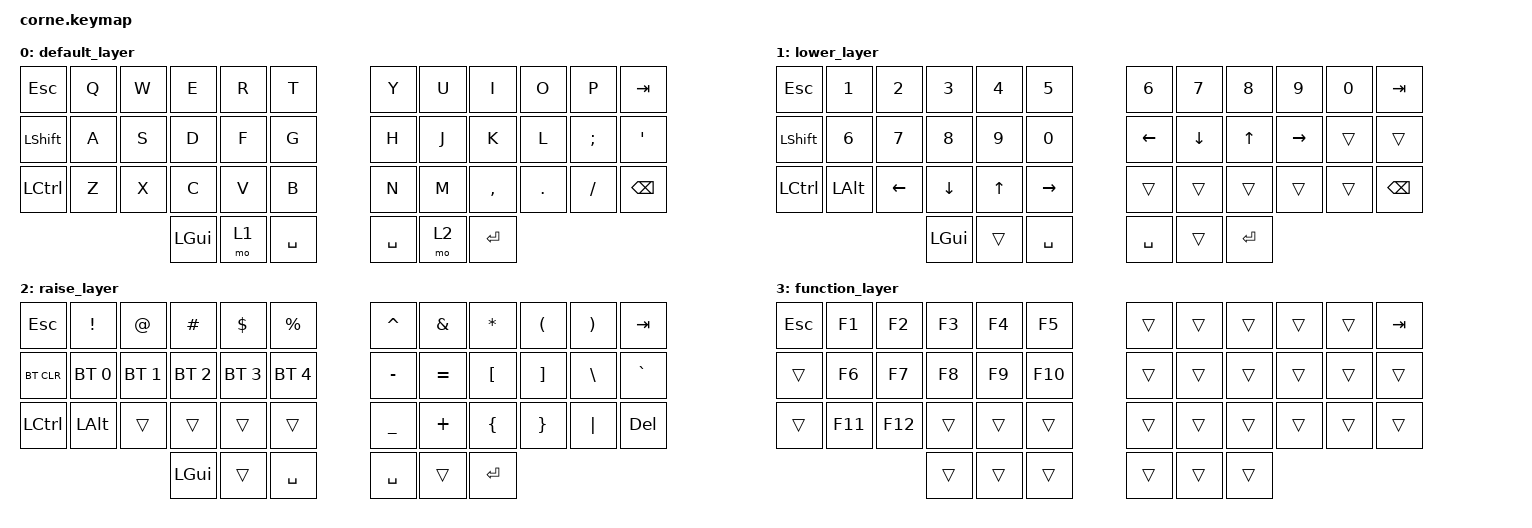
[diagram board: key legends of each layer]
#include <behaviors.dtsi>
#include <dt-bindings/zmk/keys.h>
#include <dt-bindings/zmk/bt.h>

/ {

        tri_layer {
                compatible = "zmk,tri-layer";
                lower-layer = <1>;
                upper-layer = <2>;
                tri-layer = <3>;
                };


        keymap {
                compatible = "zmk,keymap";

                default_layer {
                        bindings = <
   &kp ESC    &kp Q    &kp W     &kp E     &kp R     &kp T           &kp Y     &kp U     &kp I     &kp O     &kp P     &kp TAB
   &kp LSHFT  &kp A    &kp S     &kp D     &kp F     &kp G           &kp H     &kp J     &kp K     &kp L     &kp SEMI  &kp SQT
   &kp LCTRL  &kp Z    &kp X     &kp C     &kp V     &kp B           &kp N     &kp M     &kp COMMA &kp DOT   &kp FSLH  &kp BSPC
                         &kp LGUI    &mo 1    &kp SPACE                  &kp SPACE    &mo 2    &kp RET
                        >;
                };
                lower_layer {
                        bindings = <
   &kp ESC    &kp N1  &kp N2     &kp N3    &kp N4    &kp N5          &kp N6    &kp N7    &kp N8    &kp N9    &kp N0 &kp TAB
   &kp LSHFT  &kp N6  &kp N7     &kp N8    &kp N9    &kp N0          &kp LEFT  &kp DOWN  &kp UP    &kp RIGHT &trans &trans
   &kp LCTRL  &kp LALT &kp LEFT  &kp DOWN  &kp UP    &kp RIGHT       &trans    &trans    &trans    &trans    &trans &kp BSPC
                         &kp LGUI    &trans   &kp SPACE                  &kp SPACE    &trans   &kp RET
                        >;
                };

                raise_layer {
                        bindings = <
   &kp ESC    &kp EXCL     &kp AT       &kp HASH     &kp DLLR     &kp PRCNT            &kp CARET &kp AMPS &kp ASTRK &kp LPAR &kp RPAR &kp TAB
   &bt BT_CLR &bt BT_SEL 0 &bt BT_SEL 1 &bt BT_SEL 2 &bt BT_SEL 3 &bt BT_SEL 4         &kp MINUS &kp EQUAL &kp LBKT &kp RBKT &kp BSLH &kp GRAVE
   &kp LCTRL  &kp LALT       &trans       &trans       &trans       &trans               &kp UNDER &kp PLUS &kp LBRC &kp RBRC &kp PIPE &kp DEL
                         &kp LGUI   &trans    &kp SPACE                                       &kp SPACE    &trans   &kp RET
                        >;
                };

                function_layer {
                        bindings = <
   &kp ESC    &kp F1    &kp F2    &kp F3    &kp F4    &kp F5       &trans    &trans    &trans    &trans    &trans    &kp TAB
   &trans     &kp F6    &kp F7    &kp F8    &kp F9    &kp F10      &trans    &trans    &trans    &trans    &trans    &trans
   &trans     &kp F11   &kp F12   &trans    &trans    &trans       &trans    &trans    &trans    &trans    &trans    &trans
                         &trans     &trans    &trans                    &trans    &trans    &trans
                        >;
                };
        };
};
